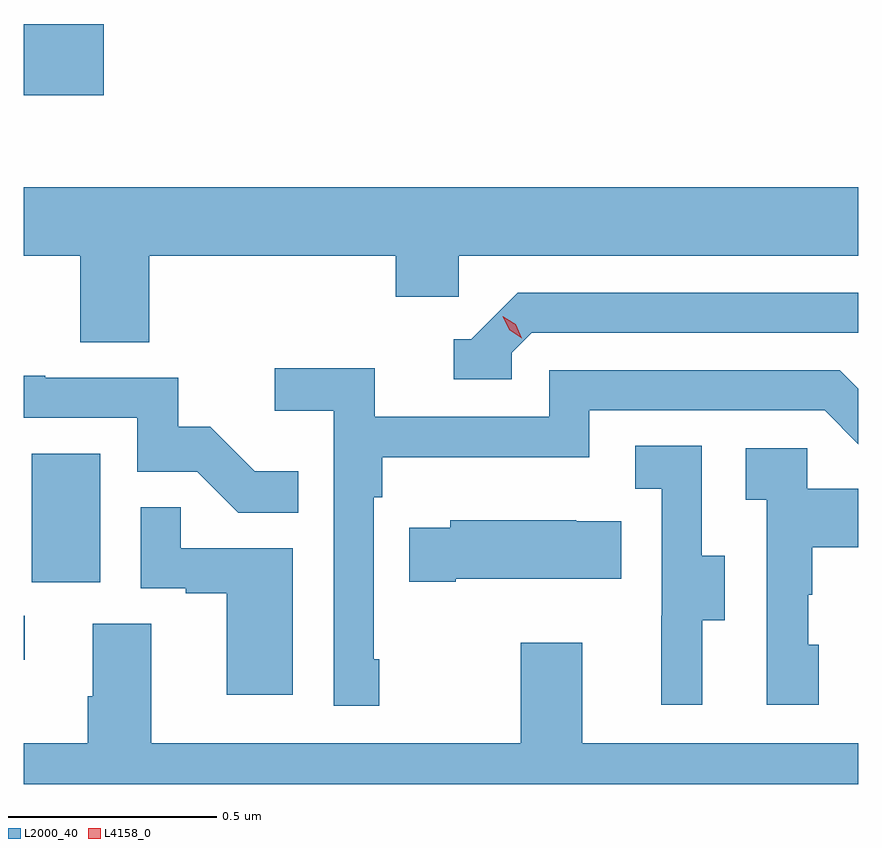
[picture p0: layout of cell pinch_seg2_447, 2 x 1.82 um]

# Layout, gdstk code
import gdstk
lib = gdstk.Library(unit=1e-6, precision=1e-09)
def R(c, l, rs):  # rectangles x0, y0, x1, y1
    for r in rs: c.add(gdstk.rectangle(r[:2], r[2:], *l))
def P(c, l, *ps):  # polygons
    for p in ps: c.add(gdstk.Polygon(p, *l))
L2000_40 = (2000, 40)
L4158_0 = (4158, 0)

pinch_seg2_447 = lib.new_cell('pinch_seg2_447')
R(pinch_seg2_447, L2000_40, [(902.785,622.692,902.788,622.797), (902.804,622.878,902.968,623.185), (902.785,624.044,902.977,624.215)])
P(pinch_seg2_447, L2000_40, [(903.086,623.66),(903.677,623.66),(903.677,623.562),(903.828,623.562),(903.828,623.66),(904.785,623.66),(904.785,623.824),(902.785,623.824),(902.785,623.66),(902.921,623.66),(902.921,623.452),(903.086,623.452)],
  [(903.954,623.427),(904.002,623.475),(904.785,623.475),(904.785,623.571),(903.969,623.571),(903.858,623.46),(903.815,623.46),(903.815,623.364),(903.954,623.364)],
  [(903.637,622.693),(903.624,622.693),(903.624,623.081),(903.644,623.081),(903.644,623.177),(904.14,623.177),(904.14,623.289),(904.704,623.289),(904.785,623.208),(904.785,623.341),(904.741,623.385),(904.044,623.385),(904.044,623.274),(903.626,623.274),(903.626,623.39),(903.387,623.39),(903.387,623.288),(903.528,623.288),(903.528,622.581),(903.637,622.581)],
  [(903.443,623.143),(903.339,623.143),(903.232,623.25),(903.156,623.25),(903.156,623.367),(902.837,623.367),(902.837,623.372),(902.785,623.372),(902.785,623.271),(903.057,623.271),(903.057,623.142),(903.201,623.142),(903.299,623.044),(903.443,623.044)],
  [(904.411,622.786),(904.465,622.786),(904.465,622.941),(904.41,622.941),(904.41,623.204),(904.251,623.204),(904.251,623.101),(904.314,623.101),(904.314,622.797),(904.313,622.797),(904.313,622.584),(904.411,622.584)],
  [(904.69,622.728),(904.665,622.728),(904.665,622.847),(904.675,622.847),(904.675,622.961),(904.785,622.961),(904.785,623.101),(904.662,623.101),(904.662,623.199),(904.515,623.199),(904.515,623.075),(904.566,623.075),(904.566,622.584),(904.69,622.584)],
  [(903.43,622.959),(903.161,622.959),(903.161,623.057),(903.066,623.057),(903.066,622.863),(903.173,622.863),(903.173,622.851),(903.272,622.851),(903.272,622.608),(903.43,622.608)],
  [(903.82,622.886),(904.217,622.886),(904.217,623.023),(904.109,623.023),(904.109,623.026),(903.807,623.026),(903.807,623.008),(903.709,623.008),(903.709,622.879),(903.82,622.879)],
  [(904.785,622.492),(904.123,622.492),(904.123,622.732),(903.976,622.732),(903.976,622.492),(903.091,622.492),(903.091,622.778),(902.951,622.778),(902.951,622.604),(902.939,622.604),(902.939,622.492),(902.785,622.492),(902.785,622.394),(904.785,622.394)])
P(pinch_seg2_447, L4158_0, [(903.979,623.462),(903.948,623.482),(903.933,623.515),(903.933,623.515),(903.933,623.515),(903.964,623.495),(903.979,623.462),(903.979,623.462)])

lib.write_gds('pinch_seg2_447.gds')
